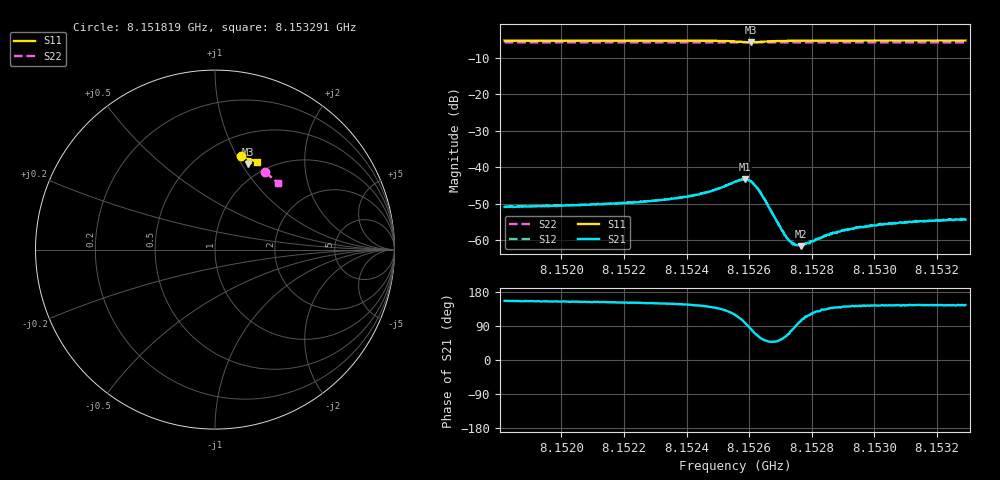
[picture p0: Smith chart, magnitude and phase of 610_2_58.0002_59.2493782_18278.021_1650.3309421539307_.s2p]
#  HZ  S  RI  R  50.00
! Rohde & Schwarz Vector Network Analyzer
! Rohde-Schwarz,ZNB20-2Port,1311601062101988,3.16
! Created: UTC 3/21/2024, 1:17:42 AM
! freq[Hz]  re:S11  im:S11  re:S21  im:S21  re:S12  im:S12  re:S22  im:S22
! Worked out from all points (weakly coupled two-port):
!   401 points, 8.151819 GHz to 8.153291 GHz, reference 50 ohm
!   highest |S21| = -43.34 dB at 8.152588 GHz (marker M1); lowest = -61.6 dB at 8.152764 GHz (marker M2)
!   lowest |S11| = -5.8 dB at 8.152606 GHz (marker M3), VSWR 3.10, Z = 41.3 + j53.6 ohm
!   |S11| at or under -10 dB: nowhere
!   |S22| runs from -5.9 to -5.8 dB; largest |S21 - S12| = 0.00014
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8.1518188e9  0.1452 0.5204  -0.0026 0.00116  -0.0026 0.00123  0.2773 0.4305
8.1520653e9  0.1627 0.5153  -0.00274 0.00137  -0.00273 0.00139  0.2902 0.4216
8.1523118e9  0.1809 0.5092  -0.00302 0.00179  -0.00302 0.00187  0.3026 0.4122
8.1524406e9  0.1922 0.5033  -0.00343 0.00251  -0.00341 0.00259  0.3093 0.407
8.1524995e9  0.198 0.4979  -0.00366 0.00344  -0.00363 0.0035  0.3123 0.4046
8.1525547e9  0.2009 0.4864  -0.00307 0.00547  -0.00304 0.00551  0.3149 0.402
8.1525878e9  0.1934 0.4776  -0.000854 0.00675  -0.00079 0.00678  0.316 0.4004
8.1526062e9  0.1853 0.4777  0.00101 0.00624  0.00105 0.00632  0.3166 0.3998
8.1526209e9  0.1803 0.4819  0.002 0.00509  0.00208 0.00513  0.3171 0.3994
8.1526393e9  0.1785 0.4887  0.00235 0.00352  0.00241 0.00351  0.3181 0.3992
8.1526982e9  0.1869 0.4999  0.00093 0.00122  0.00097 0.00121  0.3213 0.3971
8.1527202e9  0.1903 0.5009  0.000458 0.000962  0.000499 0.000969  0.3224 0.3962
8.1527423e9  0.1933 0.5012  0.000101 0.000895  0.000131 0.000896  0.3236 0.3953
8.1527534e9  0.1947 0.5012  -6.96e-05 0.000848  -2.78e-05 0.000865  0.3242 0.3947
8.1527644e9  0.1961 0.5013  -0.000175 0.000809  -0.000176 0.000848  0.3248 0.3944
8.1528012e9  0.2001 0.5008  -0.000501 0.000819  -0.000525 0.000815  0.3265 0.3929
8.1528527e9  0.2048 0.4998  -0.00084 0.000841  -0.000848 0.000844  0.3291 0.3906
8.1528969e9  0.2085 0.4986  -0.00104 0.000868  -0.00105 0.000863  0.3313 0.3888
8.1529484e9  0.2127 0.4974  -0.00118 0.000904  -0.0012 0.000912  0.3337 0.3865
8.1530477e9  0.2202 0.4948  -0.00138 0.000972  -0.0014 0.000976  0.3385 0.3821
8.1531471e9  0.227 0.492  -0.0015 0.00105  -0.00147 0.00109  0.3431 0.378
8.1532906e9  0.2365 0.4877  -0.00157 0.00109  -0.00159 0.00116  0.3496 0.3716
